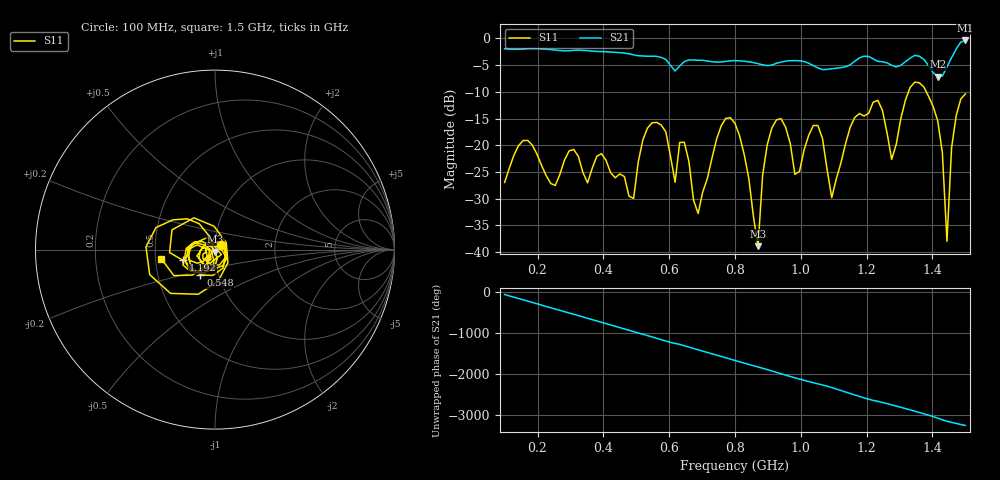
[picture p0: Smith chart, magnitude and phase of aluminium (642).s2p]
! NanoVNA-App
! Date: 2025-09-25 15:00:16
! Start: 100MHz Stop: 1,5GHz Points: 101
! S-Parameter data: F S11 S21 S12 S22
# Hz S RI R 50
!  Frequency  S11_Real  S11_Imag  S21_Real  S21_Imag  S12_Real  S12_Imag  S22_Real  S22_Imag
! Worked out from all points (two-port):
!   101 points, 100 MHz to 1.5 GHz, reference 50 ohm
!   highest |S21| = -0.37 dB at 1.5 GHz (marker M1); lowest = -7.2 dB at 1.416 GHz (marker M2)
!   |S21| within 3 dB of the highest: start of sweep to 563.6 MHz; 1.46 GHz to end of sweep (the widest 2 of 4)
!   lowest |S11| = -38.9 dB at 870 MHz (marker M3), VSWR 1.02, Z = 50.2 - j1.12 ohm
!   |S11| at or under -10 dB: start of sweep to 1.327 GHz; 1.381 GHz to end of sweep
!   S12 and S22 are empty: the file has one direction only
!   S11 on the Smith chart (normalised r, x): 100 MHz: 1.07, +0.06; 548 MHz: 0.82, -0.24; 1.192 GHz: 0.69, -0.08; 1.5 GHz: 0.54, -0.06
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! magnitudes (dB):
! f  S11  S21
! 100 MHz  -27.0  -1.9
! 156 MHz  -19.1  -2.0
! 338 MHz  -25.1  -2.2
! 492 MHz  -29.9  -3.1
! 548 MHz  -15.8  -3.3
! 576 MHz  -16.2  -3.5
! 618 MHz  -26.9  -6.1
! 646 MHz  -19.4  -4.3
! 688 MHz  -32.8  -4.1
! 800 MHz  -15.9  -4.1
! 870 MHz  -38.9  -4.7
! 912 MHz  -16.8  -5.0
! 982 MHz  -25.4  -4.1
! 1.038 GHz  -16.3  -5.1
! 1.094 GHz  -29.8  -5.7
! 1.192 GHz  -14.5  -3.3
! 1.276 GHz  -22.6  -5.0
! 1.346 GHz  -8.2  -3.2
! 1.416 GHz  -15.4  -7.2
! 1.444 GHz  -38.0  -5.3
! 1.458 GHz  -20.5  -3.6
! 1.5 GHz  -10.4  -0.4
